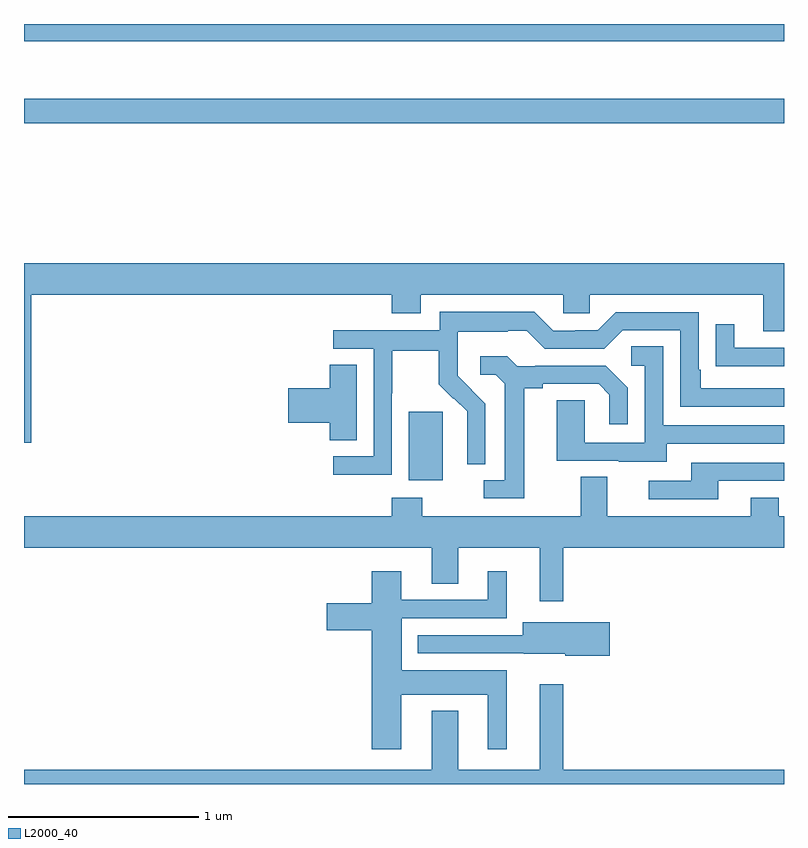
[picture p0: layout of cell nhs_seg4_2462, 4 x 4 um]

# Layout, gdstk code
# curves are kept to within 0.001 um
import gdstk
lib = gdstk.Library(unit=1e-6, precision=1e-09)
def R(c, l, rs):  # rectangles x0, y0, x1, y1
    for r in rs: c.add(gdstk.rectangle(r[:2], r[2:], *l))
def P(c, l, *ps):  # polygons
    for p in ps: c.add(gdstk.Polygon(p, *l))
L2000_40 = (2000, 40)

nhs_seg4_2462 = lib.new_cell('nhs_seg4_2462')
R(nhs_seg4_2462, L2000_40, [(241.025,806.498,241.204,806.859), (239,808.378,243,808.507), (239,808.808,243,808.9)])
P(nhs_seg4_2462, L2000_40, [(239.039,807.476),(240.935,807.476),(240.935,807.377),(241.087,807.377),(241.087,807.476),(241.839,807.476),(241.839,807.378),(241.977,807.378),(241.977,807.476),(242.891,807.476),(242.891,807.282),(243,807.282),(243,807.64),(239,807.64),(239,806.697),(239.039,806.697)],
  [(240.936,806.956),(240.939,806.956),(240.939,807.18),(241.183,807.18),(241.183,807.005),(241.26,806.928),(241.263,806.931),(241.334,806.861),(241.334,806.738),(241.332,806.738),(241.332,806.584),(241.428,806.584),(241.428,806.902),(241.282,807.05),(241.282,807.147),(241.284,807.147),(241.284,807.281),(241.547,807.281),(241.547,807.285),(241.647,807.285),(241.74,807.192),(242.055,807.192),(242.151,807.288),(242.454,807.288),(242.454,806.886),(243,806.886),(243,806.982),(242.563,806.982),(242.563,807.079),(242.55,807.079),(242.55,807.384),(242.115,807.384),(242.019,807.288),(241.901,807.288),(241.901,807.285),(241.785,807.285),(241.685,807.385),(241.188,807.385),(241.188,807.288),(240.627,807.288),(240.627,807.192),(240.84,807.192),(240.84,806.625),(240.627,806.625),(240.627,806.527),(240.936,806.527)],
  [(243,807.195),(242.737,807.195),(242.737,807.319),(242.641,807.319),(242.641,807.1),(242.743,807.1),(242.743,807.099),(243,807.099)],
  [(242.383,806.691),(243,806.691),(243,806.787),(242.364,806.787),(242.364,807.203),(242.196,807.203),(242.196,807.102),(242.268,807.102),(242.268,806.697),(241.95,806.697),(241.95,806.921),(241.805,806.921),(241.805,806.601),(242.129,806.601),(242.129,806.597),(242.383,806.597)],
  [(241.633,806.984),(241.729,806.984),(241.729,807.006),(242.024,807.006),(242.081,806.949),(242.081,806.793),(242.178,806.793),(242.178,806.986),(242.062,807.102),(241.69,807.102),(241.69,807.099),(241.596,807.099),(241.544,807.151),(241.401,807.151),(241.401,807.054),(241.482,807.054),(241.529,807.007),(241.529,806.499),(241.419,806.499),(241.419,806.403),(241.633,806.403)],
  [(240.751,807.107),(240.608,807.107),(240.608,806.984),(240.39,806.984),(240.39,806.801),(240.608,806.801),(240.608,806.71),(240.751,806.71)],
  [(242.653,806.496),(243,806.496),(243,806.592),(242.513,806.592),(242.513,806.496),(242.289,806.496),(242.289,806.4),(242.653,806.4)],
  [(241.837,806.144),(243,806.144),(243,806.308),(242.973,806.308),(242.973,806.407),(242.825,806.407),(242.825,806.308),(242.071,806.308),(242.071,806.516),(241.931,806.516),(241.931,806.308),(241.095,806.308),(241.095,806.407),(240.935,806.407),(240.935,806.308),(239,806.308),(239,806.144),(241.145,806.144),(241.145,805.954),(241.285,805.954),(241.285,806.144),(241.715,806.144),(241.715,805.863),(241.837,805.863)],
  [(240.985,805.37),(241.442,805.37),(241.442,805.083),(241.54,805.083),(241.54,805.498),(240.988,805.498),(240.988,805.773),(241.54,805.773),(241.54,806.02),(241.442,806.02),(241.442,805.869),(240.985,805.869),(240.985,806.02),(240.83,806.02),(240.83,805.851),(240.594,805.851),(240.594,805.709),(240.83,805.709),(240.83,805.083),(240.985,805.083)],
  [(242.083,805.752),(241.625,805.752),(241.625,805.683),(241.073,805.683),(241.073,805.587),(241.629,805.587),(241.629,805.586),(241.848,805.586),(241.848,805.574),(242.083,805.574)],
  [(243,804.976),(241.837,804.976),(241.837,805.426),(241.715,805.426),(241.715,804.976),(241.285,804.976),(241.285,805.285),(241.145,805.285),(241.145,804.976),(239,804.976),(239,804.9),(243,804.9)])

lib.write_gds('nhs_seg4_2462.gds')
